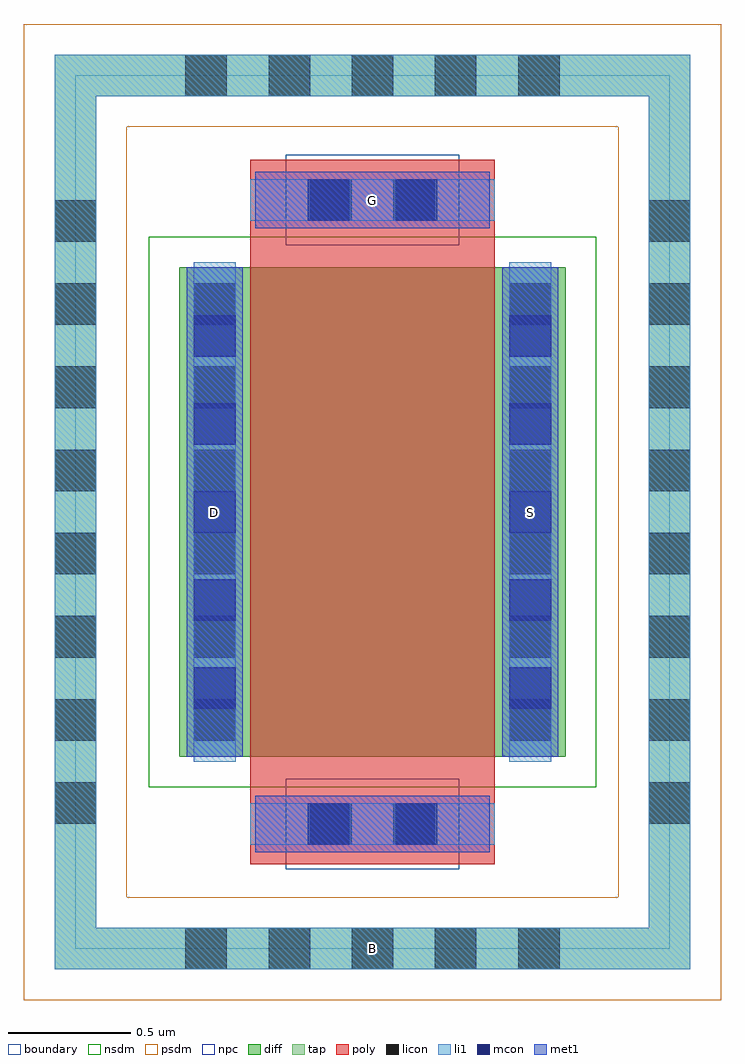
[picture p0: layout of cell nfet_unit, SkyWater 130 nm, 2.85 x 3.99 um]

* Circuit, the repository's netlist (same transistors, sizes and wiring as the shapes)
* NGSPICE file created from nfet_unit.ext - technology: sky130A

.subckt nfet_unit B D S G
X0 S G D B sky130_fd_pr__nfet_01v8 ad=0.58 pd=4.58 as=0.58 ps=4.58 w=2 l=1
.ends

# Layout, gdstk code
import gdstk
lib = gdstk.Library(unit=1e-6, precision=1e-09)
def R(c, l, rs):  # rectangles x0, y0, x1, y1
    for r in rs: c.add(gdstk.rectangle(r[:2], r[2:], *l))
def A(c, l, x, y, w, h, nx, ny, dx, dy):  # array of equal rectangles
    R(c, l, [(x+i*dx, y+j*dy, x+i*dx+w, y+j*dy+h) for i in range(nx) for j in range(ny)])
diff = (65, 20)
tap = (65, 44)
poly = (66, 20)
licon = (66, 44)
li1 = (67, 20)
mcon = (67, 44)
met1 = (68, 20)
nsdm = (93, 44)
psdm = (94, 20)
npc = (95, 20)
boundary = (235, 4)

nfet_unit = lib.new_cell('nfet_unit')
R(nfet_unit, diff, [(-0.79,-1,0.79,1)])
R(nfet_unit, tap, [(-1.3,-1.87,1.3,-1.7), (-1.3,-1.7,-1.13,1.7), (1.13,-1.7,1.3,1.7), (-1.3,1.7,1.3,1.87)])
R(nfet_unit, poly, [(-0.5,-1.44,0.5,1.44)])
A(nfet_unit, licon, -0.765, -1.87, 0.17, 0.17, 5, 2, 0.34, 3.57)
A(nfet_unit, licon, -1.3, -1.275, 0.17, 0.17, 1, 8, 0, 0.34)
A(nfet_unit, licon, 1.13, -1.275, 0.17, 0.17, 1, 8, 0, 0.34)
A(nfet_unit, licon, -0.73, -0.935, 0.17, 0.17, 1, 6, 0, 0.34)
A(nfet_unit, licon, 0.56, -0.935, 0.17, 0.17, 1, 6, 0, 0.34)
R(nfet_unit, licon, [(-0.255,-1.36,-0.085,-1.19), (0.085,-1.36,0.255,-1.19), (-0.255,1.19,-0.085,1.36), (0.085,1.19,0.255,1.36)])
R(nfet_unit, li1, [(-1.3,-1.87,1.3,-1.7), (-1.3,-1.7,-1.13,1.7), (1.13,-1.7,1.3,1.7), (-0.5,-1.36,0.5,-1.19), (-0.73,-1.02,-0.56,1.02), (0.56,-1.02,0.73,1.02), (-0.5,1.19,0.5,1.36), (-1.3,1.7,1.3,1.87)])
A(nfet_unit, mcon, -0.73, -0.805, 0.17, 0.17, 1, 5, 0, 0.36)
A(nfet_unit, mcon, 0.56, -0.805, 0.17, 0.17, 1, 5, 0, 0.36)
R(nfet_unit, mcon, [(-0.265,-1.36,-0.095,-1.19), (0.095,-1.36,0.265,-1.19), (-0.265,1.19,-0.095,1.36), (0.095,1.19,0.265,1.36)])
R(nfet_unit, met1, [(-0.48,-1.39,0.48,-1.16), (-0.76,-1,-0.53,1), (0.53,-1,0.76,1), (-0.48,1.16,0.48,1.39)])
R(nfet_unit, nsdm, [(-0.915,-1.125,0.915,1.125)])
R(nfet_unit, psdm, [(-1.425,-1.995,1.425,-1.575), (-1.425,-1.575,-1.005,1.575), (1.005,-1.575,1.425,1.575), (-1.425,1.575,1.425,1.995)])
R(nfet_unit, npc, [(-0.355,-1.46,0.355,-1.09), (-0.355,1.09,0.355,1.46)])
R(nfet_unit, boundary, [(-1.215,-1.785,1.215,1.785)])
nfet_unit.add(gdstk.Label('B', (0,-1.785), layer=67, texttype=5))
nfet_unit.add(gdstk.Label('D', (-0.645,0), layer=67, texttype=5))
nfet_unit.add(gdstk.Label('S', (0.645,0), layer=67, texttype=5))
nfet_unit.add(gdstk.Label('G', (0,1.275), layer=67, texttype=5))

lib.write_gds('nfet_unit.gds')
